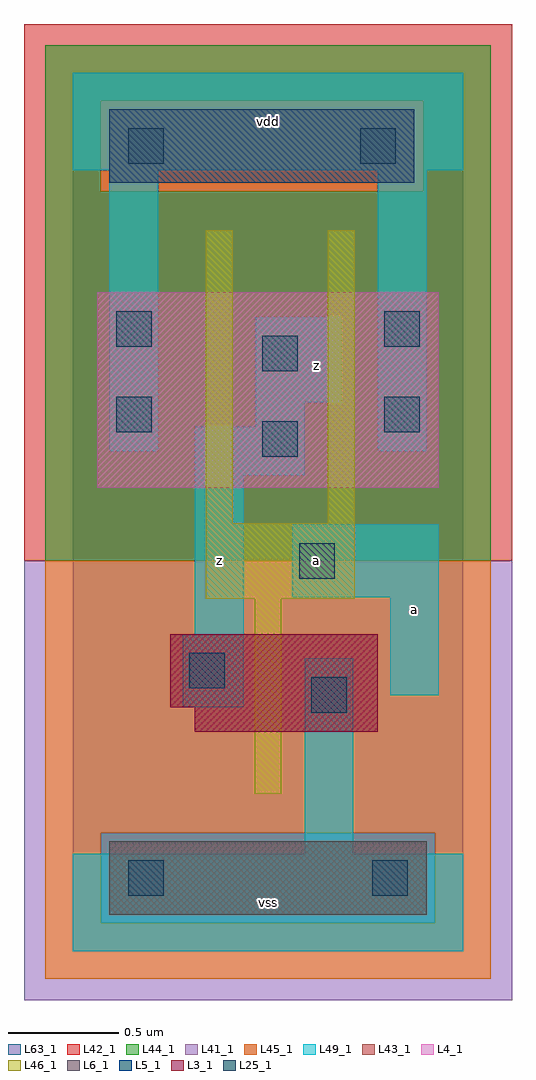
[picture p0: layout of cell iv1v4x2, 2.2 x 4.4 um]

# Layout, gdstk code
import gdstk
lib = gdstk.Library(unit=1e-6, precision=1e-09)
def R(c, l, rs):  # rectangles x0, y0, x1, y1
    for r in rs: c.add(gdstk.rectangle(r[:2], r[2:], *l))
L3_1 = (3, 1)
L4_1 = (4, 1)
L5_1 = (5, 1)
L6_1 = (6, 1)
L25_1 = (25, 1)
L41_1 = (41, 1)
L42_1 = (42, 1)
L43_1 = (43, 1)
L44_1 = (44, 1)
L45_1 = (45, 1)
L46_1 = (46, 1)
L49_1 = (49, 1)
L63_1 = (63, 1)

iv1v4x2 = lib.new_cell('iv1v4x2')
R(iv1v4x2, L3_1, [(0.55,0.99,1.375,1.1), (0.44,1.1,1.375,1.43)])
R(iv1v4x2, L4_1, [(0.11,2.09,1.65,2.97)])
R(iv1v4x2, L5_1, [(0.165,3.465,1.54,3.795)])
R(iv1v4x2, L6_1, [(0.165,0.165,1.595,0.495)])
R(iv1v4x2, L25_1, [(0.25,0.25,0.41,0.41), (1.35,0.25,1.51,0.41), (1.075,1.075,1.235,1.235), (0.525,1.185,0.685,1.345), (1.02,1.68,1.18,1.84), (0.855,2.23,1.015,2.39), (0.195,2.34,0.355,2.5), (1.405,2.34,1.565,2.5), (0.855,2.615,1.015,2.775), (0.195,2.725,0.355,2.885), (1.405,2.725,1.565,2.885), (0.25,3.55,0.41,3.71), (1.295,3.55,1.455,3.71)])
R(iv1v4x2, L41_1, [(-0.22,-0.22,1.98,1.76)])
R(iv1v4x2, L42_1, [(-0.22,1.76,1.98,4.18)])
R(iv1v4x2, L43_1, [(0.165,0.165,1.595,0.495), (0.55,0.99,1.375,1.1), (0.44,1.1,1.375,1.43), (0.11,2.09,1.65,2.97), (0.165,3.465,1.54,3.795)])
R(iv1v4x2, L44_1, [(0.125,0.125,1.635,0.535), (-0.125,1.76,1.885,3.425), (-0.125,3.425,0.125,3.835), (1.58,3.425,1.885,3.835), (-0.125,3.835,1.885,4.085)])
R(iv1v4x2, L45_1, [(-0.125,-0.125,1.885,0.125), (-0.125,0.125,0.125,0.535), (1.635,0.125,1.885,0.535), (-0.125,0.535,1.885,1.76), (0.125,3.425,1.58,3.835)])
R(iv1v4x2, L46_1, [(0.82,0.71,0.94,1.59), (0.6,1.59,1.27,1.93), (0.6,1.93,0.72,3.25), (1.15,1.93,1.27,3.25)])
R(iv1v4x2, L49_1, [(0,0,1.76,0.44), (1.045,0.44,1.265,1.32), (0.495,1.1,0.77,1.43), (1.43,1.155,1.65,1.595), (0.55,1.43,0.77,2.145), (0.99,1.595,1.65,1.925), (0.55,2.145,1.045,2.365), (0.165,2.255,0.385,3.52), (1.375,2.255,1.595,3.52), (0.825,2.365,1.045,2.475), (0.825,2.475,1.21,2.86), (0,3.52,1.76,3.96)])
R(iv1v4x2, L63_1, [(0,0,1.76,3.96)])
iv1v4x2.add(gdstk.Label('z', (0.66,1.76), layer=49, texttype=1))
iv1v4x2.add(gdstk.Label('vss', (0.88,0.22), layer=49, texttype=1))
iv1v4x2.add(gdstk.Label('a', (1.1,1.76), layer=49, texttype=1))
iv1v4x2.add(gdstk.Label('z', (1.1,2.64), layer=49, texttype=1))
iv1v4x2.add(gdstk.Label('vdd', (0.88,3.74), layer=49, texttype=1))
iv1v4x2.add(gdstk.Label('a', (1.54,1.54), layer=49, texttype=1))

lib.write_gds('iv1v4x2.gds')
